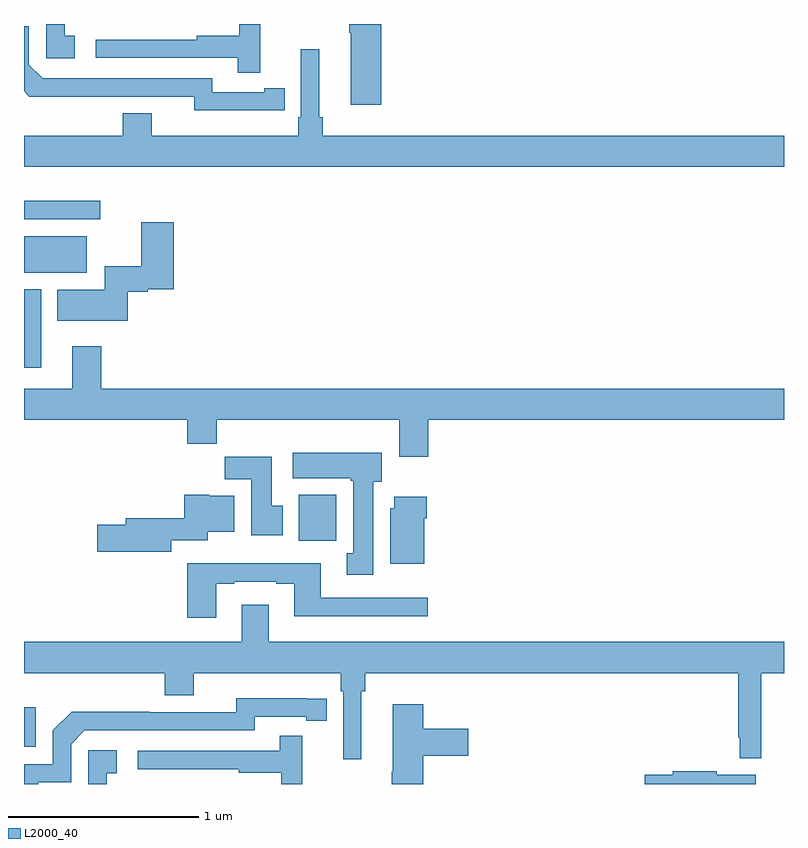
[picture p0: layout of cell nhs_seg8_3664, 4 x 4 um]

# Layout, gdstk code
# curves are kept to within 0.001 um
import gdstk
lib = gdstk.Library(unit=1e-6, precision=1e-09)
def R(c, l, rs):  # rectangles x0, y0, x1, y1
    for r in rs: c.add(gdstk.rectangle(r[:2], r[2:], *l))
def P(c, l, *ps):  # polygons
    for p in ps: c.add(gdstk.Polygon(p, *l))
L2000_40 = (2000, 40)

nhs_seg8_3664 = lib.new_cell('nhs_seg8_3664')
R(nhs_seg8_3664, L2000_40, [(337,1132.095,337.062,1132.303), (338.447,1133.18,338.644,1133.422), (337,1134.09,337.09,1134.505), (337,1134.873,337.402,1134.97)])
P(nhs_seg8_3664, L2000_40, [(337.267,1135.839),(337.214,1135.839),(337.214,1135.9),(337.116,1135.9),(337.116,1135.719),(337.267,1135.719)],
  [(338.879,1135.9),(338.713,1135.9),(338.713,1135.855),(338.72,1135.855),(338.72,1135.476),(338.879,1135.476)],
  [(338.243,1135.9),(338.133,1135.9),(338.133,1135.838),(337.909,1135.838),(337.909,1135.818),(337.377,1135.818),(337.377,1135.722),(338.125,1135.722),(338.125,1135.644),(338.243,1135.644)],
  [(338.264,1135.446),(338.372,1135.446),(338.372,1135.562),(338.264,1135.562),(338.264,1135.542),(337.992,1135.542),(337.992,1135.614),(337.098,1135.614),(337.026,1135.686),(337.026,1135.887),(337,1135.887),(337,1135.545),(337.028,1135.517),(337.896,1135.518),(337.896,1135.445)],
  [(341,1135.312),(338.573,1135.312),(338.573,1135.408),(338.554,1135.408),(338.554,1135.768),(338.457,1135.768),(338.457,1135.408),(338.444,1135.408),(338.444,1135.312),(337.672,1135.312),(337.672,1135.429),(337.52,1135.429),(337.52,1135.312),(337,1135.312),(337,1135.148),(341,1135.148)],
  [(337.547,1134.491),(337.65,1134.491),(337.65,1134.503),(337.787,1134.503),(337.787,1134.856),(337.616,1134.856),(337.616,1134.626),(337.424,1134.626),(337.424,1134.502),(337.175,1134.502),(337.175,1134.338),(337.547,1134.338)],
  [(337.33,1134.784),(337,1134.784),(337,1134.591),(337.086,1134.591),(337.086,1134.59),(337.33,1134.59)],
  [(339.128,1133.816),(341,1133.816),(341,1133.98),(337.406,1133.98),(337.406,1134.205),(337.253,1134.205),(337.253,1133.98),(337,1133.98),(337,1133.816),(337.859,1133.816),(337.859,1133.692),(338.015,1133.692),(338.015,1133.816),(338.975,1133.816),(338.975,1133.622),(339.128,1133.622)],
  [(338.839,1133.49),(338.884,1133.49),(338.884,1133.644),(338.415,1133.644),(338.415,1133.51),(338.719,1133.51),(338.719,1133.497),(338.732,1133.497),(338.732,1133.114),(338.699,1133.114),(338.699,1133.001),(338.839,1133.001)],
  [(338.362,1133.364),(338.305,1133.364),(338.305,1133.623),(338.056,1133.623),(338.056,1133.504),(338.195,1133.504),(338.195,1133.208),(338.362,1133.208)],
  [(337.774,1133.184),(337.966,1133.184),(337.966,1133.228),(338.107,1133.228),(338.107,1133.416),(337.974,1133.416),(337.974,1133.422),(337.844,1133.422),(337.844,1133.3),(337.535,1133.3),(337.535,1133.264),(337.386,1133.264),(337.386,1133.122),(337.774,1133.122)],
  [(339.106,1133.3),(339.119,1133.3),(339.119,1133.413),(338.948,1133.413),(338.948,1133.352),(338.927,1133.352),(338.927,1133.06),(339.106,1133.06)],
  [(338.011,1132.953),(338.107,1132.953),(338.107,1132.965),(338.327,1132.965),(338.327,1132.953),(338.423,1132.953),(338.423,1132.784),(339.124,1132.784),(339.124,1132.881),(338.563,1132.881),(338.563,1133.062),(337.859,1133.062),(337.859,1132.776),(338.011,1132.776)],
  [(338.776,1132.388),(338.795,1132.388),(338.795,1132.484),(340.758,1132.484),(340.758,1132.147),(340.768,1132.147),(340.768,1132.035),(340.879,1132.035),(340.879,1132.484),(341,1132.484),(341,1132.648),(338.287,1132.648),(338.287,1132.843),(338.147,1132.843),(338.147,1132.648),(337,1132.648),(337,1132.484),(337.742,1132.484),(337.742,1132.367),(337.894,1132.367),(337.894,1132.484),(338.666,1132.484),(338.666,1132.388),(338.679,1132.388),(338.679,1132.029),(338.776,1132.029)],
  [(337.075,1131.909),(337.248,1131.909),(337.248,1132.11),(337.32,1132.182),(338.214,1132.182),(338.214,1132.254),(338.486,1132.254),(338.486,1132.234),(338.594,1132.234),(338.594,1132.35),(338.118,1132.351),(338.118,1132.278),(337.658,1132.278),(337.658,1132.28),(337.25,1132.28),(337.152,1132.182),(337.152,1132.005),(337,1132.005),(337,1131.9),(337.075,1131.9)],
  [(339.101,1132.049),(339.337,1132.049),(339.337,1132.191),(339.101,1132.191),(339.101,1132.321),(338.942,1132.321),(338.942,1131.965),(338.935,1131.965),(338.935,1131.9),(339.101,1131.9)],
  [(338.465,1132.153),(338.347,1132.153),(338.347,1132.074),(337.599,1132.074),(337.599,1131.978),(338.131,1131.978),(338.131,1131.958),(338.355,1131.958),(338.355,1131.9),(338.465,1131.9)],
  [(337.436,1131.957),(337.489,1131.957),(337.489,1132.078),(337.338,1132.078),(337.338,1131.9),(337.436,1131.9)],
  [(340.852,1131.948),(340.646,1131.948),(340.646,1131.968),(340.414,1131.968),(340.414,1131.948),(340.268,1131.948),(340.268,1131.9),(340.852,1131.9)])

lib.write_gds('nhs_seg8_3664.gds')
